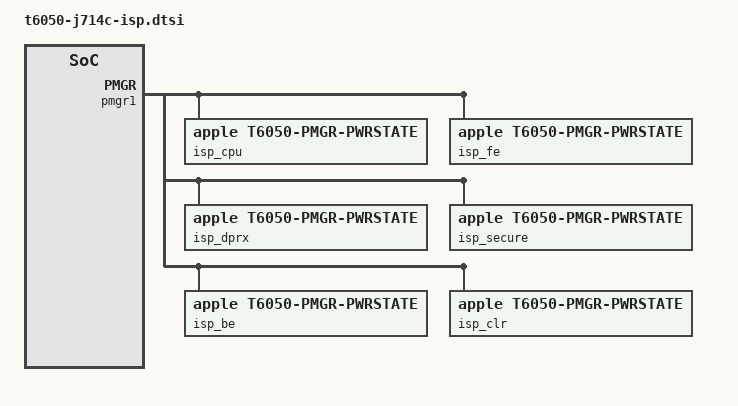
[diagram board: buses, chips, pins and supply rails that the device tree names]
// SPDX-License-Identifier: GPL-2.0+ OR MIT
/*
 * J714c ISP: T6050's ISP17a (ASC version 0x110003), laid out and booted as
 * aurora's T6040 (M4 Pro/Max) one, at the same addresses: isp0 0x580000000,
 * dart-isp0 0x5828c0000/0x5828e0000/0x582900000 (+0xc000), the mailbox at
 * +0x2924000. T8140's mailbox offset, +0x2920000, stalls the bus here.
 * From the J714c ADT: IRQs [513 514 515 516 526] (513 carries the mailbox),
 * dart-isp0 IRQ 531, remap streams 1 6 7 10 11 -> 0, sensor-type 0x73.
 *
 * The ADT marks the ISP sub-domains no_ps, but pmgr1's slots run by device id
 * 8 bytes apart from ISP_SYS (218, +0x3a0): ISP_CPU 220 +0x3b0, ISP_FE 221
 * +0x3b8, DPRX 225 +0x3d8, ISP_SECURE 226 +0x3e0, ISP_BE 227 +0x3e8, ISP_CLR
 * 228 +0x3f0, with the ADT's parents. All reach active from the AP.
 *
 * iBoot loads the firmware's __TEXT and __DATA (isp0 segment-ranges) into its
 * 32 MiB main memory at 0x100_0000_0000; they end at 0x1fec000. The physical
 * addresses are those of iBoot mBoot-20457.60.65.0.1 (macOS 27.3 beta 1) and
 * move with it. No "isp" alias: the boot loader leaves this node as it is.
 *
 * The front camera is an IMX958 (sensor 0x958), as on the M4 Pro/Max.
 */

&{/reserved-memory} {
	isp_fw_text: isp-firmware-text@10001224000 {
		reg = <0x100 0x01224000 0x0 0xc1c000>;
		iommu-addresses = <&isp 0x100 0x0 0x0 0xc1c000>;
		no-map;
	};

	isp_fw_data: isp-firmware-data@10002930000 {
		reg = <0x100 0x02930000 0x0 0x13d0000>;
		iommu-addresses = <&isp 0x100 0xc1c000 0x0 0x13d0000>;
		no-map;
	};

	/* the firmware's main memory, the driver backs it above the data */
	isp_heap: isp-heap {
		iommu-addresses = <&isp 0x100 0x0 0x0 0x2000000>;
	};
};

&pmgr1 {
	ps_isp_cpu: power-controller@3b0 {
		compatible = "apple,t6050-pmgr-pwrstate", "apple,t8103-pmgr-pwrstate";
		reg = <0x3b0 4>;
		label = "isp_cpu";
		#power-domain-cells = <0>;
		#reset-cells = <0>;
		power-domains = <&ps_isp_sys>;
	};

	ps_isp_fe: power-controller@3b8 {
		compatible = "apple,t6050-pmgr-pwrstate", "apple,t8103-pmgr-pwrstate";
		reg = <0x3b8 4>;
		label = "isp_fe";
		#power-domain-cells = <0>;
		#reset-cells = <0>;
		power-domains = <&ps_isp_sys>;
	};

	ps_isp_dprx: power-controller@3d8 {
		compatible = "apple,t6050-pmgr-pwrstate", "apple,t8103-pmgr-pwrstate";
		reg = <0x3d8 4>;
		label = "isp_dprx";
		#power-domain-cells = <0>;
		#reset-cells = <0>;
		power-domains = <&ps_isp_fe>;
	};

	ps_isp_secure: power-controller@3e0 {
		compatible = "apple,t6050-pmgr-pwrstate", "apple,t8103-pmgr-pwrstate";
		reg = <0x3e0 4>;
		label = "isp_secure";
		#power-domain-cells = <0>;
		#reset-cells = <0>;
		power-domains = <&ps_isp_fe>;
	};

	ps_isp_be: power-controller@3e8 {
		compatible = "apple,t6050-pmgr-pwrstate", "apple,t8103-pmgr-pwrstate";
		reg = <0x3e8 4>;
		label = "isp_be";
		#power-domain-cells = <0>;
		#reset-cells = <0>;
		power-domains = <&ps_isp_fe>;
	};

	ps_isp_clr: power-controller@3f0 {
		compatible = "apple,t6050-pmgr-pwrstate", "apple,t8103-pmgr-pwrstate";
		reg = <0x3f0 4>;
		label = "isp_clr";
		#power-domain-cells = <0>;
		#reset-cells = <0>;
		power-domains = <&ps_isp_be>;
	};
};

&soc {
	isp_dart0: iommu@5828c0000 {
		compatible = "apple,t6050-dart", "apple,t8110-dart";
		/* ADT dart-isp0 reg[0] and reg[5], its address filter */
		reg = <0x5 0x828c0000 0x0 0xc000>, <0x5 0x828d0000 0x0 0x4000>;
		reg-names = "dart", "dapf";
		#iommu-cells = <1>;
		interrupt-parent = <&aic>;
		interrupts = <AIC_IRQ 531 IRQ_TYPE_LEVEL_HIGH>;
		power-domains = <&ps_isp_sys>;
		apple,remap-streams = <1 0>, <6 0>, <7 0>, <10 0>, <11 0>;
	};

	isp_dart1: iommu@5828e0000 {
		compatible = "apple,t6050-dart", "apple,t8110-dart";
		reg = <0x5 0x828e0000 0x0 0xc000>;
		#iommu-cells = <1>;
		interrupt-parent = <&aic>;
		interrupts = <AIC_IRQ 531 IRQ_TYPE_LEVEL_HIGH>;
		power-domains = <&ps_isp_sys>;
		apple,remap-streams = <1 0>, <6 0>, <7 0>, <10 0>, <11 0>;
	};

	isp_dart2: iommu@582900000 {
		compatible = "apple,t6050-dart", "apple,t8110-dart";
		reg = <0x5 0x82900000 0x0 0xc000>;
		#iommu-cells = <1>;
		interrupt-parent = <&aic>;
		interrupts = <AIC_IRQ 531 IRQ_TYPE_LEVEL_HIGH>;
		power-domains = <&ps_isp_sys>;
		apple,remap-streams = <1 0>, <6 0>, <7 0>, <10 0>, <11 0>;
	};

	/*
	 * As on T6040: "coproc" up to its control block; "mbox", "gpio" and
	 * "mbox2" are the interrupt words, the firmware handshake words and
	 * the doorbell of the mailbox at +0x2924000.
	 */
	isp: isp@580000000 {
		compatible = "apple,t6050-isp", "apple,isp";
		iommus = <&isp_dart0 0>, <&isp_dart1 0>, <&isp_dart2 0>;
		reg-names = "coproc", "mbox", "gpio", "mbox2", "wdt", "cil";
		reg = <0x5 0x80000000 0x0 0x1604000>,
		      <0x5 0x82924000 0x0 0x40>,
		      <0x5 0x829241d0 0x0 0x20>,
		      <0x5 0x82924464 0x0 0x10>,
		      <0x5 0xc3b50000 0x0 0x8000>,
		      <0x2 0xdc000234 0x0 0x4>;
		interrupt-parent = <&aic>;
		interrupts = <AIC_IRQ 513 IRQ_TYPE_LEVEL_HIGH>;
		power-domains = <&ps_isp_sys>, <&ps_isp_cpu>, <&ps_isp_fe>,
				<&ps_isp_dprx>, <&ps_isp_secure>, <&ps_isp_be>,
				<&ps_isp_clr>, <&ps_ispsens0>;
		memory-region = <&isp_fw_text>, <&isp_fw_data>, <&isp_heap>;
		memory-region-names = "text", "data", "heap";
		/* the shared memory window above the firmware's 32 MiB */
		apple,dart-vm-size = /bits/ 64 <0xde600000>;
		/* the ADT isp0 sensor-type */
		apple,platform-id = <0x73>;
		apple,temporal-filter = <1>;
		/* ADT isp0 cam-connections-scheme, as on the M4 Pro/Max J614/J616 */
		apple,cam-connections-scheme = <0x10>;
		/*
		 * The camera light: ADT eic cil-gpio-offset 141 in gpio0
		 * (0x2dc000000), cil-gpio-config 0x474002. Active high: driven
		 * low it is off even while the sensor streams (measured).
		 * "wdt" is the eic's mmio-wd-isp: frames pass only while it is fed,
		 * which the driver does only while the light is on.
		 */
		apple,cil-config = <0x474002>;
		apple,cil-active-high;

		/*
		 * The full IMX958 (firmware configuration 7, 3040x2880), cropped to
		 * the centre: inside the lens circle and about the field of view
		 * macOS shows. 1920x1080 and 1280x720 scale a 2400x1350 window;
		 * 2560x1440 is the centre 1:1.
		 */
		sensor-presets {
			/* 1920x1080 */
			preset0 {
				apple,config-index = <7>;
				apple,input-size = <3040 2880>;
				apple,output-size = <1920 1080>;
				apple,crop = <320 765 2400 1350>;
			};
			/* 1280x720 */
			preset1 {
				apple,config-index = <7>;
				apple,input-size = <3040 2880>;
				apple,output-size = <1280 720>;
				apple,crop = <320 765 2400 1350>;
			};
			/* 2560x1440 */
			preset2 {
				apple,config-index = <7>;
				apple,input-size = <3040 2880>;
				apple,output-size = <2560 1440>;
				apple,crop = <240 720 2560 1440>;
			};
		};
	};
};
